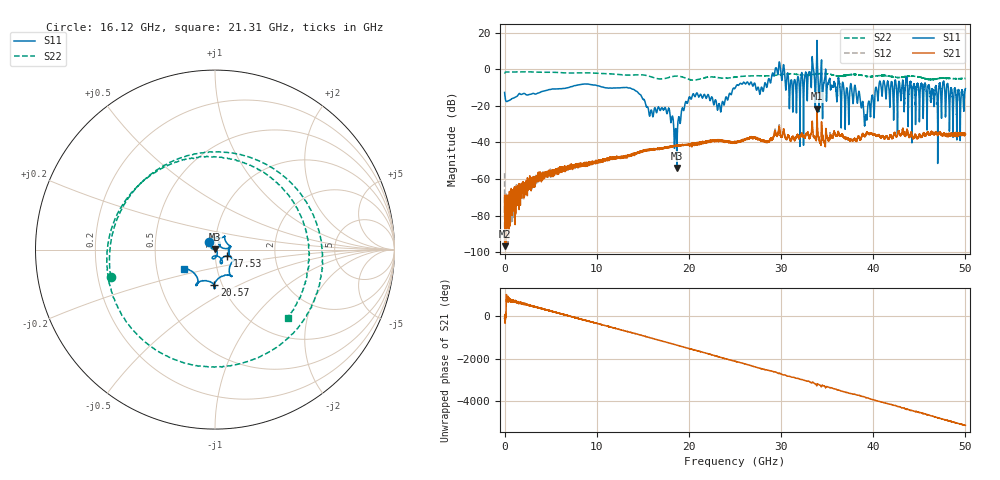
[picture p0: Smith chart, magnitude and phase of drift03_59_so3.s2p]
!Created with skrf (http://scikit-rf.org).
# Hz S RI R 50.0
!freq ReS11 ImS11 ReS21 ImS21 ReS12 ImS12 ReS22 ImS22
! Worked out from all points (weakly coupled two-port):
!   10001 points, 300 kHz to 50 GHz, reference 50 ohm
!   highest |S21| = -21.46 dB at 33.9 GHz (marker M1); lowest = -96.7 dB at 60.3 MHz (marker M2)
!   lowest |S11| = -54.0 dB at 18.69 GHz (marker M3), VSWR 1.00, Z = 49.9 + j0.182 ohm
!   |S11| at or under -10 dB: start of sweep to 6.944 GHz; 13.32 GHz to 25.04 GHz (11.72 GHz wide, 61.1 % of centre); 38.08 GHz to 40.27 GHz (2.191 GHz wide, 5.59 % of centre) (the widest 3 of 54)
!   |S22| runs from -5.9 to -1.3 dB; largest |S21 - S12| = 0.0098
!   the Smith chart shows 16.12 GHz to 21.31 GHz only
!   S11 on the Smith chart (normalised r, x): 16.12 GHz: 0.94, +0.08; 17.53 GHz: 1.14, -0.08; 20.57 GHz: 0.92, -0.38; 21.31 GHz: 0.69, -0.16
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300000  -0.2085 -0.1033  -0.000191 -0.000297  -0.000416 0.0014  -0.7655 -0.1941
6.029964e7  -0.1553 0.0611  -2.05e-07 1.46e-05  8.68e-05 3.07e-05  -0.8295 0.0739
1.530291e9  0.203 0.0455  -0.000266 -0.000134  -0.000217 -0.000366  0.8489 0.0859
3.160281e9  -0.2185 -0.00842  -0.000156 0.000941  -3.49e-05 0.000758  -0.8442 -0.025
4.665272e9  0.2637 0.0611  -4.77e-05 -0.0012  -9.4e-05 -0.00131  0.8185 0.1423
6.360262e9  -0.3002 0.000262  0.000634 0.00165  0.000588 0.00178  -0.8039 -0.0431
8.33525e9  0.2839 -0.2674  -0.00231 -0.000899  -0.00232 -0.0008  0.6016 -0.5363
1.043024e10  -0.0427 0.3325  0.00241 -0.00191  0.00244 -0.00198  -0.0368 0.7701
1.201523e10  0.00706 -0.3087  -0.00304 0.00264  -0.00306 0.00273  0.1074 -0.7298
1.61152e10  -0.0315 0.0407  0.00618 0.00208  0.00609 0.00204  -0.5803 -0.1507
1.66702e10  0.0541 0.0748  0.00436 -0.00502  0.00427 -0.00485  -0.3597 0.4181
1.752519e10  0.067 -0.0349  -0.00627 -0.00404  -0.00628 -0.00406  0.491 0.291
1.869019e10  -0.000814 0.00183  0.00238 0.00791  0.00235 0.00777  -0.084 -0.6481
2.056518e10  -0.00365 -0.1968  -0.00761 -0.00509  -0.00749 -0.00479  0.3656 0.3515
2.131017e10  -0.1722 -0.109  -0.00529 0.00803  -0.00505 0.00821  0.4049 -0.3798
2.500015e10  -0.2975 -0.0486  0.00764 0.00688  0.00779 0.00648  -0.1856 -0.5804
3.051012e10  0.2471 -0.1057  -0.00227 0.0129  -0.0025 0.0124  0.7423 -0.0591
3.213011e10  0.2019 0.3743  -0.000102 -0.0143  -0.000641 -0.015  -0.701 0.0135
3.33351e10  0.4965 -0.9978  -0.00449 0.0256  -0.00646 0.0244  0.6156 0.3666
3.38951e10  -0.8591 -6.095  0.084 0.00903  0.0784 0.00361  0.6797 -0.325
4.167005e10  -0.2214 0.2824  -0.0122 -0.00401  -0.0115 -0.00486  -0.6534 -0.061
5e10  -0.1487 -0.2572  0.00214 -0.0168  0.00245 -0.017  0.4696 -0.3164
